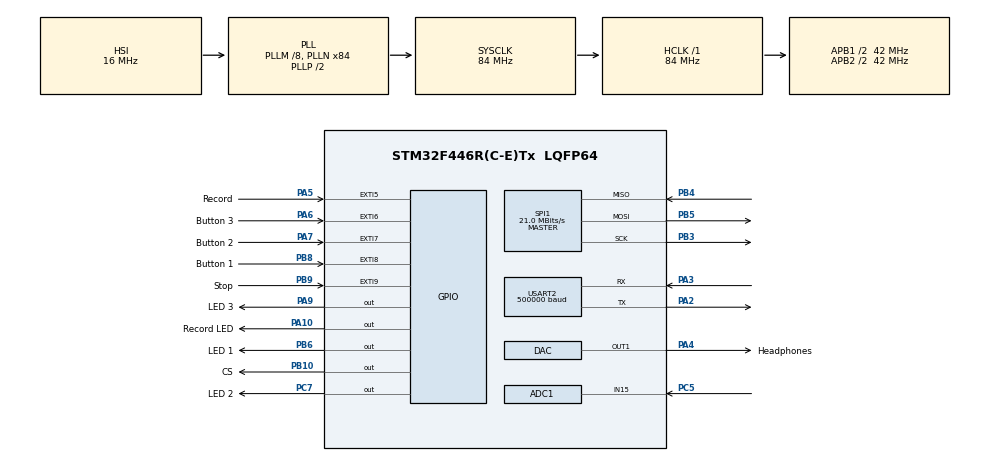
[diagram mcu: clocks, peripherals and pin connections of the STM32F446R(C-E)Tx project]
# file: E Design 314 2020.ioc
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ADC1.Channel-4\#ChannelRegularConversion=ADC_CHANNEL_15
ADC1.DMAContinuousRequests=ENABLE
ADC1.ExternalTrigConv=ADC_EXTERNALTRIGCONV_T3_TRGO
ADC1.NbrOfConversion=1
ADC1.NbrOfConversionFlag=1
ADC1.Rank-4\#ChannelRegularConversion=1
ADC1.Resolution=ADC_RESOLUTION_8B
ADC1.SamplingTime-4\#ChannelRegularConversion=ADC_SAMPLETIME_84CYCLES
ADC1.master=1
DAC.DAC_Trigger=DAC_TRIGGER_T6_TRGO
Dma.ADC1.1.Direction=DMA_PERIPH_TO_MEMORY
Dma.ADC1.1.FIFOMode=DMA_FIFOMODE_DISABLE
Dma.ADC1.1.Instance=DMA2_Stream0
Dma.ADC1.1.MemDataAlignment=DMA_MDATAALIGN_BYTE
Dma.ADC1.1.MemInc=DMA_MINC_ENABLE
Dma.ADC1.1.Mode=DMA_NORMAL
Dma.ADC1.1.PeriphDataAlignment=DMA_PDATAALIGN_BYTE
Dma.ADC1.1.PeriphInc=DMA_PINC_DISABLE
Dma.ADC1.1.Priority=DMA_PRIORITY_LOW
Dma.DAC1.0.Direction=DMA_MEMORY_TO_PERIPH
Dma.DAC1.0.FIFOMode=DMA_FIFOMODE_DISABLE
Dma.DAC1.0.Instance=DMA1_Stream5
Dma.DAC1.0.MemDataAlignment=DMA_MDATAALIGN_BYTE
Dma.DAC1.0.MemInc=DMA_MINC_ENABLE
Dma.DAC1.0.Mode=DMA_NORMAL
Dma.DAC1.0.PeriphDataAlignment=DMA_PDATAALIGN_BYTE
Dma.DAC1.0.PeriphInc=DMA_PINC_DISABLE
Dma.DAC1.0.Priority=DMA_PRIORITY_LOW
Dma.Request0=DAC1
Dma.Request1=ADC1
Dma.Request2=SPI1_RX
Dma.Request3=SPI1_TX
Dma.SPI1_RX.2.Direction=DMA_PERIPH_TO_MEMORY
Dma.SPI1_RX.2.FIFOMode=DMA_FIFOMODE_DISABLE
Dma.SPI1_RX.2.Instance=DMA2_Stream2
Dma.SPI1_RX.2.MemDataAlignment=DMA_MDATAALIGN_BYTE
Dma.SPI1_RX.2.MemInc=DMA_MINC_ENABLE
Dma.SPI1_RX.2.Mode=DMA_NORMAL
Dma.SPI1_RX.2.PeriphDataAlignment=DMA_PDATAALIGN_BYTE
Dma.SPI1_RX.2.PeriphInc=DMA_PINC_DISABLE
Dma.SPI1_RX.2.Priority=DMA_PRIORITY_LOW
Dma.SPI1_TX.3.Direction=DMA_MEMORY_TO_PERIPH
Dma.SPI1_TX.3.FIFOMode=DMA_FIFOMODE_DISABLE
Dma.SPI1_TX.3.Instance=DMA2_Stream3
Dma.SPI1_TX.3.MemDataAlignment=DMA_MDATAALIGN_BYTE
Dma.SPI1_TX.3.MemInc=DMA_MINC_ENABLE
Dma.SPI1_TX.3.Mode=DMA_NORMAL
Dma.SPI1_TX.3.PeriphDataAlignment=DMA_PDATAALIGN_BYTE
Dma.SPI1_TX.3.PeriphInc=DMA_PINC_DISABLE
Dma.SPI1_TX.3.Priority=DMA_PRIORITY_LOW
FATFS._MAX_SS=4096
FATFS._USE_LFN=1
Mcu.Family=STM32F4
Mcu.Name=STM32F446R(C-E)Tx
Mcu.Package=LQFP64
NVIC.DMA1_Stream5_IRQn=true\:0\:0\:false\:false\:true\:false\:true
NVIC.DMA2_Stream0_IRQn=true\:0\:0\:false\:false\:true\:false\:true
NVIC.DMA2_Stream2_IRQn=true\:0\:0\:false\:false\:true\:false\:true
NVIC.DMA2_Stream3_IRQn=true\:0\:0\:false\:false\:true\:false\:true
NVIC.EXTI9_5_IRQn=true\:0\:0\:false\:false\:true\:true\:true
NVIC.PriorityGroup=NVIC_PRIORITYGROUP_4
NVIC.TIM2_IRQn=true\:0\:0\:false\:false\:true\:true\:true
NVIC.TIM4_IRQn=true\:0\:0\:false\:false\:true\:true\:true
NVIC.USART2_IRQn=true\:0\:0\:false\:false\:true\:true\:true
PA10.GPIO_Label=Record LED
PA10.Signal=GPIO_Output
PA2.Mode=Asynchronous
PA2.Signal=USART2_TX
PA3.Mode=Asynchronous
PA3.Signal=USART2_RX
PA4.GPIO_Label=Headphones
PA4.Signal=COMP_DAC1_group
PA5.GPIO_Label=Record
PA5.GPIO_ModeDefaultEXTI=GPIO_MODE_IT_RISING
PA5.GPIO_PuPd=GPIO_PULLDOWN
PA5.Signal=GPXTI5
PA6.GPIO_Label=Button 3
PA6.GPIO_ModeDefaultEXTI=GPIO_MODE_IT_RISING
PA6.GPIO_PuPd=GPIO_PULLDOWN
PA6.Signal=GPXTI6
PA7.GPIO_Label=Button 2
PA7.GPIO_ModeDefaultEXTI=GPIO_MODE_IT_RISING
PA7.GPIO_PuPd=GPIO_PULLDOWN
PA7.Signal=GPXTI7
PA9.GPIO_Label=LED 3
PA9.Signal=GPIO_Output
PB10.GPIO_Label=CS
PB10.Signal=GPIO_Output
PB3.Mode=Full_Duplex_Master
PB3.Signal=SPI1_SCK
PB4.Mode=Full_Duplex_Master
PB4.Signal=SPI1_MISO
PB5.Mode=Full_Duplex_Master
PB5.Signal=SPI1_MOSI
PB6.GPIO_Label=LED 1
PB6.Signal=GPIO_Output
PB8.GPIO_Label=Button 1
PB8.GPIO_ModeDefaultEXTI=GPIO_MODE_IT_RISING
PB8.GPIO_PuPd=GPIO_PULLDOWN
PB8.Signal=GPXTI8
PB9.GPIO_Label=Stop
PB9.GPIO_ModeDefaultEXTI=GPIO_MODE_IT_RISING
PB9.GPIO_PuPd=GPIO_PULLDOWN
PB9.Signal=GPXTI9
PC14-OSC32_IN.Mode=LSE-External-Oscillator
PC14-OSC32_IN.Signal=RCC_OSC32_IN
PC15-OSC32_OUT.Mode=LSE-External-Oscillator
PC15-OSC32_OUT.Signal=RCC_OSC32_OUT
PC5.Signal=ADCx_IN15
PC7.GPIO_Label=LED 2
PC7.Signal=GPIO_Output
PH0-OSC_IN.Mode=HSE-External-Clock-Source
PH0-OSC_IN.Signal=RCC_OSC_IN
PH1-OSC_OUT.Mode=HSE-External-Clock-Source
PH1-OSC_OUT.Signal=RCC_OSC_OUT
ProjectManager.HeapSize=0x200
ProjectManager.StackSize=0x400
ProjectManager.TargetToolchain=STM32CubeIDE
RCC.AHBFreq_Value=84000000
RCC.APB1CLKDivider=RCC_HCLK_DIV2
RCC.APB1Freq_Value=42000000
RCC.APB1TimFreq_Value=84000000
RCC.APB2CLKDivider=RCC_HCLK_DIV2
RCC.APB2Freq_Value=42000000
RCC.APB2TimFreq_Value=84000000
RCC.CortexFreq_Value=84000000
RCC.HCLKFreq_Value=84000000
RCC.PLLM=8
RCC.PLLN=84
RCC.SYSCLKFreq_VALUE=84000000
RCC.SYSCLKSource=RCC_SYSCLKSOURCE_PLLCLK
RCC.USBFreq_Value=84000000
RCC.VCOOutputFreq_Value=168000000
SH.ADCx_IN15.0=ADC1_IN15,IN15
SH.COMP_DAC1_group.0=DAC_OUT1,DAC_OUT1
SPI1.BaudRatePrescaler=SPI_BAUDRATEPRESCALER_2
SPI1.CalculateBaudRate=21.0 MBits/s
SPI1.DataSize=SPI_DATASIZE_8BIT
SPI1.Direction=SPI_DIRECTION_2LINES
SPI1.Mode=SPI_MODE_MASTER
SPI1.VirtualType=VM_MASTER
TIM2.Period=500-1
TIM2.Prescaler=42000-1
TIM3.AutoReloadPreload=TIM_AUTORELOAD_PRELOAD_DISABLE
TIM3.Period=1905-1
TIM3.Prescaler=0
TIM3.TIM_MasterOutputTrigger=TIM_TRGO_UPDATE
TIM4.Period=1999
TIM4.Prescaler=41999
TIM6.Period=1905-1
TIM6.TIM_MasterOutputTrigger=TIM_TRGO_UPDATE
USART2.BaudRate=500000
USART2.VirtualMode=VM_ASYNC
VP_FATFS_VS_Generic.Mode=User_defined
VP_TIM2_VS_ClockSourceINT.Mode=Internal
VP_TIM3_VS_ClockSourceINT.Mode=Internal
VP_TIM4_VS_ClockSourceINT.Mode=Internal
VP_TIM6_VS_ClockSourceINT.Mode=Enable_Timer
board=custom

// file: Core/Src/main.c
/* USER CODE BEGIN Header */
/**
  ******************************************************************************
  * @file           : main.c
  * @brief          : Main program body
  ******************************************************************************
  * @attention
  *
  * <h2><center>&copy; Copyright (c) 2020 STMicroelectronics.
  * All rights reserved.</center></h2>
  *
  * This software component is licensed by ST under BSD 3-Clause license,
  * the "License"; You may not use this file except in compliance with the
  * License. You may obtain a copy of the License at:
  *                        opensource.org/licenses/BSD-3-Clause
  *
  ******************************************************************************
  */
/* USER CODE END Header */

#include "main.h"
#include "fatfs.h"

/* USER CODE BEGIN Includes */
#include "stdio.h"
#include "stdint.h"
#include "math.h"
#include "string.h"
#include "Buttons.h"
#include "LED.h"
#include "sinewave.h"
#include "fatfs_sd.h"
#include "stm32f4xx_hal.h"
#include "SD.h"

/* USER CODE END Includes */

ADC_HandleTypeDef hadc1;
DMA_HandleTypeDef hdma_adc1;

DAC_HandleTypeDef hdac;
DMA_HandleTypeDef hdma_dac1;

SPI_HandleTypeDef hspi1;
DMA_HandleTypeDef hdma_spi1_rx;
DMA_HandleTypeDef hdma_spi1_tx;

TIM_HandleTypeDef htim2;
TIM_HandleTypeDef htim3;
TIM_HandleTypeDef htim4;
TIM_HandleTypeDef htim6;

UART_HandleTypeDef huart2;

/* USER CODE BEGIN PV */

uint8_t ADC_Buffer[1024] = {0};
uint8_t Transmit[40960] = {0};
uint16_t DAC_Buffer[1024] = {0};
uint8_t i = 0;

/* USER CODE END PV */

void SystemClock_Config(void);
static void MX_GPIO_Init(void);
static void MX_DMA_Init(void);
static void MX_USART2_UART_Init(void);
static void MX_ADC1_Init(void);
static void MX_DAC_Init(void);
static void MX_TIM2_Init(void);
static void MX_TIM3_Init(void);
static void MX_TIM6_Init(void);
static void MX_SPI1_Init(void);
static void MX_TIM4_Init(void);

/* USER CODE BEGIN 0 */
FATFS fs;  // file system
FIL fil;  // file
FRESULT fresult;  // to store the result
FILINFO filinfo;
char buffer[1024]; // to store data

BYTE work[_MAX_SS];

UINT br, bw;   // file read/write count

/* USER CODE END 0 */

int main(void)
{

  /* MCU Configuration--------------------------------------------------------*/

  /* Reset of all peripherals, Initializes the Flash interface and the Systick. */
  HAL_Init();

  /* Configure the system clock */
  SystemClock_Config();

  /* Initialize all configured peripherals */
  MX_GPIO_Init();
  MX_DMA_Init();
  MX_USART2_UART_Init();
  MX_ADC1_Init();
  MX_DAC_Init();
  MX_TIM2_Init();
  MX_TIM3_Init();
  MX_TIM6_Init();
  MX_SPI1_Init();
  MX_TIM4_Init();
  MX_FATFS_Init();
  /* USER CODE BEGIN 2 */
  __HAL_TIM_ENABLE(&htim2);
  __HAL_TIM_ENABLE_IT(&htim2, TIM_IT_UPDATE);

  HAL_TIM_Base_Start(&htim3);
  HAL_TIM_Base_Start(&htim6);

  //Send Startup message
  uint8_t startup[10] = {127,128,'1','9','8','0','3','0','3','6'};
  HAL_UART_Transmit(&huart2,startup,10,100);

  wave_init();

  /* Mount SD Card */
  fresult = f_mount(&fs, "", 0);
  Clear_files();
  Drive_info();

//          /**************** The following operation is using f_write and f_read **************************/
//
//          /* Create second file with read write access and open it */
//          fresult = f_open(&fil, "file2.txt", FA_OPEN_ALWAYS | FA_READ | FA_WRITE);
//
//          /* Writing text */
//          strcpy (buffer, "This is File 2 and it says Hello from controllerstech\n");
//
//          fresult = f_write(&fil, buffer, bufsize(buffer), &bw);
//
//          send_uart ("File2.txt created and data is written\n");
//
//          /* Close file */
//          f_close(&fil);
//
//
//
//          // clearing buffer to show that result obtained is from the file
//          bufclear();
//
//          /* Open second file to read */
//          fresult = f_open(&fil, "file2.txt", FA_READ);
//
//          /* Read data from the file
//           * Please see the function details for the arguments */
//          f_read (&fil, buffer, filinfo.fsize, &br);
//          send_uart(buffer);
//
//          /* Close file */
//          f_close(&fil);
//
//          bufclear();

  /* USER CODE END 2 */

  /* Infinite loop */
  /* USER CODE BEGIN WHILE */
  while (1)
  {
	  Record_msg();			//Check for Record State
	  Playback_msg();		//Check for Play-back State
	  Stop_msg();			//Check for Stop State
	  Record_LED();			//Set Recording LEDs
	  Playback_LED();		//Set Play Back LEDs
	  Stop_LED();			//Set Stop LED

	  if(Recording)
		  StopCount(20); 	//Stop Recording after 20 Seconds

//	  else if(i < 40 && Stopped)
//	  {
//		  fresult = f_write(&fil, Transmit, 1024*i, &bw);
//		  i = 0;
//	  }
//	  if(Stopped && i != 0)
//	  {
//		  fresult = f_write(&fil, Transmit, 1024*i, &bw);
//		  i = 0;
//		  HAL_ADC_Stop_DMA(&hadc1);
//		  f_close(&fil);
//	  }

//	  if (DAC_Complete && Playing)
//	  {
//		DAC_Complete = 0;
		//if(!eof)
		//	HAL_UART_Transmit(&huart2, (uint8_t *) Transmit, 1024, 100);
//	  }

    /* USER CODE END WHILE */

  }
}

void SystemClock_Config(void)
{
  RCC_OscInitTypeDef RCC_OscInitStruct = {0};
  RCC_ClkInitTypeDef RCC_ClkInitStruct = {0};

  /** Configure the main internal regulator output voltage
  */
  __HAL_RCC_PWR_CLK_ENABLE();
  __HAL_PWR_VOLTAGESCALING_CONFIG(PWR_REGULATOR_VOLTAGE_SCALE3);
  /** Initializes the CPU, AHB and APB busses clocks
  */
  RCC_OscInitStruct.OscillatorType = RCC_OSCILLATORTYPE_HSI;
  RCC_OscInitStruct.HSIState = RCC_HSI_ON;
  RCC_OscInitStruct.HSICalibrationValue = RCC_HSICALIBRATION_DEFAULT;
  RCC_OscInitStruct.PLL.PLLState = RCC_PLL_ON;
  RCC_OscInitStruct.PLL.PLLSource = RCC_PLLSOURCE_HSI;
  RCC_OscInitStruct.PLL.PLLM = 8;
  RCC_OscInitStruct.PLL.PLLN = 84;
  RCC_OscInitStruct.PLL.PLLP = RCC_PLLP_DIV2;
  RCC_OscInitStruct.PLL.PLLQ = 2;
  RCC_OscInitStruct.PLL.PLLR = 2;
  if (HAL_RCC_OscConfig(&RCC_OscInitStruct) != HAL_OK)
  {
    Error_Handler();
  }
  /** Initializes the CPU, AHB and APB busses clocks
  */
  RCC_ClkInitStruct.ClockType = RCC_CLOCKTYPE_HCLK|RCC_CLOCKTYPE_SYSCLK
                              |RCC_CLOCKTYPE_PCLK1|RCC_CLOCKTYPE_PCLK2;
  RCC_ClkInitStruct.SYSCLKSource = RCC_SYSCLKSOURCE_PLLCLK;
  RCC_ClkInitStruct.AHBCLKDivider = RCC_SYSCLK_DIV1;
  RCC_ClkInitStruct.APB1CLKDivider = RCC_HCLK_DIV2;
  RCC_ClkInitStruct.APB2CLKDivider = RCC_HCLK_DIV2;

  if (HAL_RCC_ClockConfig(&RCC_ClkInitStruct, FLASH_LATENCY_2) != HAL_OK)
  {
    Error_Handler();
  }
}

static void MX_ADC1_Init(void)
{

  ADC_ChannelConfTypeDef sConfig = {0};

  /** Configure the global features of the ADC (Clock, Resolution, Data Alignment and number of conversion)
  */
  hadc1.Instance = ADC1;
  hadc1.Init.ClockPrescaler = ADC_CLOCK_SYNC_PCLK_DIV2;
  hadc1.Init.Resolution = ADC_RESOLUTION_8B;
  hadc1.Init.ScanConvMode = DISABLE;
  hadc1.Init.ContinuousConvMode = DISABLE;
  hadc1.Init.DiscontinuousConvMode = DISABLE;
  hadc1.Init.ExternalTrigConvEdge = ADC_EXTERNALTRIGCONVEDGE_RISING;
  hadc1.Init.ExternalTrigConv = ADC_EXTERNALTRIGCONV_T3_TRGO;
  hadc1.Init.DataAlign = ADC_DATAALIGN_RIGHT;
  hadc1.Init.NbrOfConversion = 1;
  hadc1.Init.DMAContinuousRequests = ENABLE;
  hadc1.Init.EOCSelection = ADC_EOC_SINGLE_CONV;
  if (HAL_ADC_Init(&hadc1) != HAL_OK)
  {
    Error_Handler();
  }
  /** Configure for the selected ADC regular channel its corresponding rank in the sequencer and its sample time.
  */
  sConfig.Channel = ADC_CHANNEL_15;
  sConfig.Rank = 1;
  sConfig.SamplingTime = ADC_SAMPLETIME_84CYCLES;
  if (HAL_ADC_ConfigChannel(&hadc1, &sConfig) != HAL_OK)
  {
    Error_Handler();
  }

}

static void MX_DAC_Init(void)
{

  DAC_ChannelConfTypeDef sConfig = {0};

  /** DAC Initialization
  */
  hdac.Instance = DAC;
  if (HAL_DAC_Init(&hdac) != HAL_OK)
  {
    Error_Handler();
  }
  /** DAC channel OUT1 config
  */
  sConfig.DAC_Trigger = DAC_TRIGGER_T6_TRGO;
  sConfig.DAC_OutputBuffer = DAC_OUTPUTBUFFER_ENABLE;
  if (HAL_DAC_ConfigChannel(&hdac, &sConfig, DAC_CHANNEL_1) != HAL_OK)
  {
    Error_Handler();
  }

}

static void MX_SPI1_Init(void)
{

  /* SPI1 parameter configuration*/
  hspi1.Instance = SPI1;
  hspi1.Init.Mode = SPI_MODE_MASTER;
  hspi1.Init.Direction = SPI_DIRECTION_2LINES;
  hspi1.Init.DataSize = SPI_DATASIZE_8BIT;
  hspi1.Init.CLKPolarity = SPI_POLARITY_LOW;
  hspi1.Init.CLKPhase = SPI_PHASE_1EDGE;
  hspi1.Init.NSS = SPI_NSS_SOFT;
  hspi1.Init.BaudRatePrescaler = SPI_BAUDRATEPRESCALER_2;
  hspi1.Init.FirstBit = SPI_FIRSTBIT_MSB;
  hspi1.Init.TIMode = SPI_TIMODE_DISABLE;
  hspi1.Init.CRCCalculation = SPI_CRCCALCULATION_DISABLE;
  hspi1.Init.CRCPolynomial = 10;
  if (HAL_SPI_Init(&hspi1) != HAL_OK)
  {
    Error_Handler();
  }

}

static void MX_TIM2_Init(void)
{

  TIM_ClockConfigTypeDef sClockSourceConfig = {0};
  TIM_MasterConfigTypeDef sMasterConfig = {0};

  htim2.Instance = TIM2;
  htim2.Init.Prescaler = 42000-1;
  htim2.Init.CounterMode = TIM_COUNTERMODE_UP;
  htim2.Init.Period = 500-1;
  htim2.Init.ClockDivision = TIM_CLOCKDIVISION_DIV1;
  htim2.Init.AutoReloadPreload = TIM_AUTORELOAD_PRELOAD_DISABLE;
  if (HAL_TIM_Base_Init(&htim2) != HAL_OK)
  {
    Error_Handler();
  }
  sClockSourceConfig.ClockSource = TIM_CLOCKSOURCE_INTERNAL;
  if (HAL_TIM_ConfigClockSource(&htim2, &sClockSourceConfig) != HAL_OK)
  {
    Error_Handler();
  }
  sMasterConfig.MasterOutputTrigger = TIM_TRGO_RESET;
  sMasterConfig.MasterSlaveMode = TIM_MASTERSLAVEMODE_DISABLE;
  if (HAL_TIMEx_MasterConfigSynchronization(&htim2, &sMasterConfig) != HAL_OK)
  {
    Error_Handler();
  }

}

static void MX_TIM3_Init(void)
{

  TIM_ClockConfigTypeDef sClockSourceConfig = {0};
  TIM_MasterConfigTypeDef sMasterConfig = {0};

  htim3.Instance = TIM3;
  htim3.Init.Prescaler = 0;
  htim3.Init.CounterMode = TIM_COUNTERMODE_UP;
  htim3.Init.Period = 1905-1;
  htim3.Init.ClockDivision = TIM_CLOCKDIVISION_DIV1;
  htim3.Init.AutoReloadPreload = TIM_AUTORELOAD_PRELOAD_DISABLE;
  if (HAL_TIM_Base_Init(&htim3) != HAL_OK)
  {
    Error_Handler();
  }
  sClockSourceConfig.ClockSource = TIM_CLOCKSOURCE_INTERNAL;
  if (HAL_TIM_ConfigClockSource(&htim3, &sClockSourceConfig) != HAL_OK)
  {
    Error_Handler();
  }
  sMasterConfig.MasterOutputTrigger = TIM_TRGO_UPDATE;
  sMasterConfig.MasterSlaveMode = TIM_MASTERSLAVEMODE_DISABLE;
  if (HAL_TIMEx_MasterConfigSynchronization(&htim3, &sMasterConfig) != HAL_OK)
  {
    Error_Handler();
  }

}

static void MX_TIM4_Init(void)
{

  TIM_ClockConfigTypeDef sClockSourceConfig = {0};
  TIM_MasterConfigTypeDef sMasterConfig = {0};

  htim4.Instance = TIM4;
  htim4.Init.Prescaler = 41999;
  htim4.Init.CounterMode = TIM_COUNTERMODE_UP;
  htim4.Init.Period = 1999;
  htim4.Init.ClockDivision = TIM_CLOCKDIVISION_DIV1;
  htim4.Init.AutoReloadPreload = TIM_AUTORELOAD_PRELOAD_DISABLE;
  if (HAL_TIM_Base_Init(&htim4) != HAL_OK)
  {
    Error_Handler();
  }
  sClockSourceConfig.ClockSource = TIM_CLOCKSOURCE_INTERNAL;
  if (HAL_TIM_ConfigClockSource(&htim4, &sClockSourceConfig) != HAL_OK)
  {
    Error_Handler();
  }
  sMasterConfig.MasterOutputTrigger = TIM_TRGO_RESET;
  sMasterConfig.MasterSlaveMode = TIM_MASTERSLAVEMODE_DISABLE;
  if (HAL_TIMEx_MasterConfigSynchronization(&htim4, &sMasterConfig) != HAL_OK)
  {
    Error_Handler();
  }

}

static void MX_TIM6_Init(void)
{

  TIM_MasterConfigTypeDef sMasterConfig = {0};

  htim6.Instance = TIM6;
  htim6.Init.Prescaler = 0;
  htim6.Init.CounterMode = TIM_COUNTERMODE_UP;
  htim6.Init.Period = 1905-1;
  htim6.Init.AutoReloadPreload = TIM_AUTORELOAD_PRELOAD_DISABLE;
  if (HAL_TIM_Base_Init(&htim6) != HAL_OK)
  {
    Error_Handler();
  }
  sMasterConfig.MasterOutputTrigger = TIM_TRGO_UPDATE;
  sMasterConfig.MasterSlaveMode = TIM_MASTERSLAVEMODE_DISABLE;
  if (HAL_TIMEx_MasterConfigSynchronization(&htim6, &sMasterConfig) != HAL_OK)
  {
    Error_Handler();
  }

}

static void MX_USART2_UART_Init(void)
{

  huart2.Instance = USART2;
  huart2.Init.BaudRate = 500000;
  huart2.Init.WordLength = UART_WORDLENGTH_8B;
  huart2.Init.StopBits = UART_STOPBITS_1;
  huart2.Init.Parity = UART_PARITY_NONE;
  huart2.Init.Mode = UART_MODE_TX_RX;
  huart2.Init.HwFlowCtl = UART_HWCONTROL_NONE;
  huart2.Init.OverSampling = UART_OVERSAMPLING_16;
  if (HAL_UART_Init(&huart2) != HAL_OK)
  {
    Error_Handler();
  }

}

static void MX_DMA_Init(void)
{

  /* DMA controller clock enable */
  __HAL_RCC_DMA1_CLK_ENABLE();
  __HAL_RCC_DMA2_CLK_ENABLE();

  /* DMA interrupt init */
  /* DMA1_Stream5_IRQn interrupt configuration */
  HAL_NVIC_SetPriority(DMA1_Stream5_IRQn, 0, 0);
  HAL_NVIC_EnableIRQ(DMA1_Stream5_IRQn);
  /* DMA2_Stream0_IRQn interrupt configuration */
  HAL_NVIC_SetPriority(DMA2_Stream0_IRQn, 0, 0);
  HAL_NVIC_EnableIRQ(DMA2_Stream0_IRQn);
  /* DMA2_Stream2_IRQn interrupt configuration */
  HAL_NVIC_SetPriority(DMA2_Stream2_IRQn, 0, 0);
  HAL_NVIC_EnableIRQ(DMA2_Stream2_IRQn);
  /* DMA2_Stream3_IRQn interrupt configuration */
  HAL_NVIC_SetPriority(DMA2_Stream3_IRQn, 0, 0);
  HAL_NVIC_EnableIRQ(DMA2_Stream3_IRQn);

}

static void MX_GPIO_Init(void)
{
  GPIO_InitTypeDef GPIO_InitStruct = {0};

  /* GPIO Ports Clock Enable */
  __HAL_RCC_GPIOC_CLK_ENABLE();
  __HAL_RCC_GPIOH_CLK_ENABLE();
  __HAL_RCC_GPIOA_CLK_ENABLE();
  __HAL_RCC_GPIOB_CLK_ENABLE();

  /*Configure GPIO pin Output Level */
  HAL_GPIO_WritePin(GPIOB, CS_Pin|LED_1_Pin, GPIO_PIN_RESET);

  /*Configure GPIO pin Output Level */
  HAL_GPIO_WritePin(LED_2_GPIO_Port, LED_2_Pin, GPIO_PIN_RESET);

  /*Configure GPIO pin Output Level */
  HAL_GPIO_WritePin(GPIOA, LED_3_Pin|Record_LED_Pin, GPIO_PIN_RESET);

  /*Configure GPIO pins : Record_Pin Button_3_Pin Button_2_Pin */
  GPIO_InitStruct.Pin = Record_Pin|Button_3_Pin|Button_2_Pin;
  GPIO_InitStruct.Mode = GPIO_MODE_IT_RISING;
  GPIO_InitStruct.Pull = GPIO_PULLDOWN;
  HAL_GPIO_Init(GPIOA, &GPIO_InitStruct);

  /*Configure GPIO pins : CS_Pin LED_1_Pin */
  GPIO_InitStruct.Pin = CS_Pin|LED_1_Pin;
  GPIO_InitStruct.Mode = GPIO_MODE_OUTPUT_PP;
  GPIO_InitStruct.Pull = GPIO_NOPULL;
  GPIO_InitStruct.Speed = GPIO_SPEED_FREQ_LOW;
  HAL_GPIO_Init(GPIOB, &GPIO_InitStruct);

  /*Configure GPIO pin : LED_2_Pin */
  GPIO_InitStruct.Pin = LED_2_Pin;
  GPIO_InitStruct.Mode = GPIO_MODE_OUTPUT_PP;
  GPIO_InitStruct.Pull = GPIO_NOPULL;
  GPIO_InitStruct.Speed = GPIO_SPEED_FREQ_LOW;
  HAL_GPIO_Init(LED_2_GPIO_Port, &GPIO_InitStruct);

  /*Configure GPIO pins : LED_3_Pin Record_LED_Pin */
  GPIO_InitStruct.Pin = LED_3_Pin|Record_LED_Pin;
  GPIO_InitStruct.Mode = GPIO_MODE_OUTPUT_PP;
  GPIO_InitStruct.Pull = GPIO_NOPULL;
  GPIO_InitStruct.Speed = GPIO_SPEED_FREQ_LOW;
  HAL_GPIO_Init(GPIOA, &GPIO_InitStruct);

  /*Configure GPIO pins : Button_1_Pin Stop_Pin */
  GPIO_InitStruct.Pin = Button_1_Pin|Stop_Pin;
  GPIO_InitStruct.Mode = GPIO_MODE_IT_RISING;
  GPIO_InitStruct.Pull = GPIO_PULLDOWN;
  HAL_GPIO_Init(GPIOB, &GPIO_InitStruct);

  /* EXTI interrupt init*/
  HAL_NVIC_SetPriority(EXTI9_5_IRQn, 0, 0);
  HAL_NVIC_EnableIRQ(EXTI9_5_IRQn);

}

/* USER CODE BEGIN 4 */
void HAL_ADC_ConvHalfCpltCallback(ADC_HandleTypeDef* hadc)
{
  /* Prevent unused argument(s) compilation warning */
  UNUSED(hadc);
  /* NOTE : This function Should not be modified, when the callback is needed,
            the HAL_ADC_ConvHalfCpltCallback could be implemented in the user file
   */
  //fresult = f_write(&fil, ADC_Buffer, 1024, &bw);
  HAL_UART_Transmit(&huart2,ADC_Buffer,512,100);

}

void HAL_ADC_ConvCpltCallback(ADC_HandleTypeDef* hadc)
{
  /* Prevent unused argument(s) compilation warning */
  UNUSED(hadc);
  /* NOTE : This function Should not be modified, when the callback is needed,
            the HAL_ADC_ConvHalfCpltCallback could be implemented in the user file
   */
//  	memcpy(Transmit + i*1024, ADC_Buffer, 1024);
//  	//fresult = f_write(&fil, ADC_Buffer, 1024, &bw);
//  	i++;
//	  if(i >= 40)
//	  {
//		  fresult = f_write(&fil, Transmit, 40960, &bw);
//		  i = 0;
//	  }

  	HAL_UART_Transmit(&huart2,ADC_Buffer+512,512,100);
  	 HAL_ADC_Start_DMA(&hadc1,(uint32_t*)&ADC_Buffer, 1024);

}

void HAL_DAC_ConvHalfCpltCallbackCh1(DAC_HandleTypeDef* hdac)
{
  /* Prevent unused argument(s) compilation warning */
  UNUSED(hdac);
  /* NOTE : This function Should not be modified, when the callback is needed,
            the HAL_DAC_ConvHalfCpltCallbackCh1 could be implemented in the user file
   */

}

void HAL_DAC_ConvCpltCallbackCh1(DAC_HandleTypeDef* hdac)
{
  /* Prevent unused argument(s) compilation warning */
  UNUSED(hdac);
  /* NOTE : This function Should not be modified, when the callback is needed,
            the HAL_DAC_ConvCpltCallback could be implemented in the user file
   */
//  fresult = f_read(&fil, DAC_Buffer, 1024, &br);
//  eof = f_eof(&fil);
//  HAL_DAC_Start_DMA(hdac,DAC_CHANNEL_1,(uint32_t*)&DAC_Buffer,1024,DAC_ALIGN_12B_R);
//  HAL_UART_Transmit(&huart2,(uint8_t*)DAC_Buffer,1024,100);

}

/* USER CODE END 4 */

void Error_Handler(void)
{
}

/************************ (C) COPYRIGHT STMicroelectronics *****END OF FILE****/
